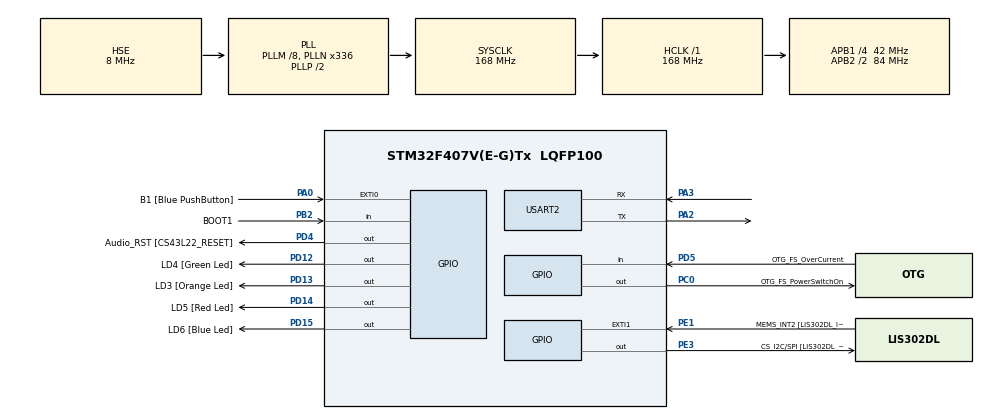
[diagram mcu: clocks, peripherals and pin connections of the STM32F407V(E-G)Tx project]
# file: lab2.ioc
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Mcu.Family=STM32F4
Mcu.Name=STM32F407V(E-G)Tx
Mcu.Package=LQFP100
NVIC.PriorityGroup=NVIC_PRIORITYGROUP_4
NVIC.TIM7_IRQn=true\:0\:0\:false\:false\:true\:false\:true\:true
NVIC.TimeBase=TIM7_IRQn
NVIC.TimeBaseIP=TIM7
PA0-WKUP.GPIO_Label=B1 [Blue PushButton]
PA0-WKUP.GPIO_ModeDefaultEXTI=GPIO_MODE_EVT_RISING
PA0-WKUP.GPIO_PuPd=GPIO_NOPULL
PA0-WKUP.Signal=GPXTI0
PA10.GPIO_Label=OTG_FS_ID
PA10.GPIO_Mode=GPIO_MODE_AF_PP
PA10.GPIO_PuPd=GPIO_NOPULL
PA10.GPIO_Speed=GPIO_SPEED_FREQ_LOW
PA10.Signal=USB_OTG_FS_ID
PA11.GPIO_Label=OTG_FS_DM
PA11.GPIO_Mode=GPIO_MODE_AF_PP
PA11.GPIO_PuPd=GPIO_NOPULL
PA11.GPIO_Speed=GPIO_SPEED_FREQ_LOW
PA11.Signal=USB_OTG_FS_DM
PA12.GPIO_Label=OTG_FS_DP
PA12.GPIO_Mode=GPIO_MODE_AF_PP
PA12.GPIO_PuPd=GPIO_NOPULL
PA12.GPIO_Speed=GPIO_SPEED_FREQ_LOW
PA12.Signal=USB_OTG_FS_DP
PA13.GPIO_Label=SWDIO
PA13.Mode=Serial_Wire
PA13.Signal=SYS_JTMS-SWDIO
PA14.GPIO_Label=SWCLK
PA14.Mode=Serial_Wire
PA14.Signal=SYS_JTCK-SWCLK
PA2.Mode=Asynchronous
PA2.Signal=USART2_TX
PA3.Mode=Asynchronous
PA3.Signal=USART2_RX
PA4.GPIO_Label=I2S3_WS [CS43L22_LRCK]
PA4.GPIO_Mode=GPIO_MODE_AF_PP
PA4.GPIO_PuPd=GPIO_NOPULL
PA4.GPIO_Speed=GPIO_SPEED_FREQ_LOW
PA4.Signal=I2S3_WS
PA5.GPIO_Label=SPI1_SCK [LIS302DL_SCL/SPC]
PA5.GPIO_Mode=GPIO_MODE_AF_PP
PA5.GPIO_PuPd=GPIO_NOPULL
PA5.GPIO_Speed=GPIO_SPEED_FREQ_LOW
PA5.Signal=SPI1_SCK
PA6.GPIO_Label=SPI1_MISO [LIS302DL_SDO]
PA6.GPIO_Mode=GPIO_MODE_AF_PP
PA6.GPIO_PuPd=GPIO_NOPULL
PA6.GPIO_Speed=GPIO_SPEED_FREQ_LOW
PA6.Signal=SPI1_MISO
PA7.GPIO_Label=SPI1_MOSI [LIS302DL_SDA/SDI/SDO]
PA7.GPIO_Mode=GPIO_MODE_AF_PP
PA7.GPIO_PuPd=GPIO_NOPULL
PA7.GPIO_Speed=GPIO_SPEED_FREQ_LOW
PA7.Signal=SPI1_MOSI
PA9.GPIO_Label=VBUS_FS
PA9.GPIO_Mode=GPIO_MODE_INPUT
PA9.GPIO_PuPd=GPIO_NOPULL
PA9.Signal=USB_OTG_FS_VBUS
PB10.GPIO_Label=CLK_IN [MP45DT02_CLK]
PB10.GPIO_Mode=GPIO_MODE_AF_PP
PB10.GPIO_PuPd=GPIO_NOPULL
PB10.GPIO_Speed=GPIO_SPEED_FREQ_LOW
PB10.Signal=I2S2_CK
PB2.GPIO_Label=BOOT1
PB2.GPIO_Mode=GPIO_MODE_INPUT
PB2.GPIO_PuPd=GPIO_NOPULL
PB2.Signal=GPIO_Input
PB3.GPIO_Label=SWO
PB3.Signal=SYS_JTDO-SWO
PB6.GPIO_Label=Audio_SCL [CS43L22_SCL]
PB6.GPIO_Mode=GPIO_MODE_AF_OD
PB6.GPIO_Pu=GPIO_PULLUP
PB6.GPIO_PuPd=GPIO_NOPULL
PB6.GPIO_Speed=GPIO_SPEED_FREQ_LOW
PB6.Signal=I2C1_SCL
PB9.GPIO_Label=Audio_SDA [CS43L22_SDA]
PB9.GPIO_Mode=GPIO_MODE_AF_OD
PB9.GPIO_Pu=GPIO_PULLUP
PB9.GPIO_PuPd=GPIO_NOPULL
PB9.GPIO_Speed=GPIO_SPEED_FREQ_LOW
PB9.Signal=I2C1_SDA
PC0.GPIO_Label=OTG_FS_PowerSwitchOn
PC0.GPIO_PuPd=GPIO_NOPULL
PC0.GPIO_Speed=GPIO_SPEED_FREQ_LOW
PC0.PinState=GPIO_PIN_SET
PC0.Signal=GPIO_Output
PC10.GPIO_Label=I2S3_SCK [CS43L22_SCLK]
PC10.GPIO_Mode=GPIO_MODE_AF_PP
PC10.GPIO_PuPd=GPIO_NOPULL
PC10.GPIO_Speed=GPIO_SPEED_FREQ_LOW
PC10.Signal=I2S3_CK
PC12.GPIO_Label=I2S3_SD [CS43L22_SDIN]
PC12.GPIO_Mode=GPIO_MODE_AF_PP
PC12.GPIO_PuPd=GPIO_NOPULL
PC12.GPIO_Speed=GPIO_SPEED_FREQ_LOW
PC12.Signal=I2S3_SD
PC14-OSC32_IN.GPIO_Label=PC14-OSC32_IN
PC14-OSC32_IN.Mode=LSE-External-Oscillator
PC14-OSC32_IN.Signal=RCC_OSC32_IN
PC15-OSC32_OUT.GPIO_Label=PC15-OSC32_OUT
PC15-OSC32_OUT.Mode=LSE-External-Oscillator
PC15-OSC32_OUT.Signal=RCC_OSC32_OUT
PC3.GPIO_Label=PDM_OUT [MP45DT02_DOUT]
PC3.GPIO_Mode=GPIO_MODE_AF_PP
PC3.GPIO_PuPd=GPIO_NOPULL
PC3.GPIO_Speed=GPIO_SPEED_FREQ_LOW
PC3.Signal=I2S2_SD
PC7.GPIO_Label=I2S3_MCK [CS43L22_MCLK]
PC7.GPIO_Mode=GPIO_MODE_AF_PP
PC7.GPIO_PuPd=GPIO_NOPULL
PC7.GPIO_Speed=GPIO_SPEED_FREQ_LOW
PC7.Signal=I2S3_MCK
PD12.GPIO_Label=LD4 [Green Led]
PD12.GPIO_PuPd=GPIO_NOPULL
PD12.GPIO_Speed=GPIO_SPEED_FREQ_LOW
PD12.Signal=GPIO_Output
PD13.GPIO_Label=LD3 [Orange Led]
PD13.GPIO_PuPd=GPIO_NOPULL
PD13.GPIO_Speed=GPIO_SPEED_FREQ_LOW
PD13.Signal=GPIO_Output
PD14.GPIO_Label=LD5 [Red Led]
PD14.GPIO_PuPd=GPIO_NOPULL
PD14.GPIO_Speed=GPIO_SPEED_FREQ_LOW
PD14.Signal=GPIO_Output
PD15.GPIO_Label=LD6 [Blue Led]
PD15.GPIO_PuPd=GPIO_NOPULL
PD15.GPIO_Speed=GPIO_SPEED_FREQ_LOW
PD15.Signal=GPIO_Output
PD4.GPIO_Label=Audio_RST [CS43L22_RESET]
PD4.GPIO_PuPd=GPIO_NOPULL
PD4.GPIO_Speed=GPIO_SPEED_FREQ_LOW
PD4.Signal=GPIO_Output
PD5.GPIO_Label=OTG_FS_OverCurrent
PD5.GPIO_Mode=GPIO_MODE_INPUT
PD5.GPIO_PuPd=GPIO_NOPULL
PD5.Signal=GPIO_Input
PE1.GPIO_Label=MEMS_INT2 [LIS302DL_INT2]
PE1.GPIO_ModeDefaultEXTI=GPIO_MODE_EVT_RISING
PE1.GPIO_PuPd=GPIO_NOPULL
PE1.Signal=GPXTI1
PE3.GPIO_Label=CS_I2C/SPI [LIS302DL_CS_I2C/SPI]
PE3.GPIO_PuPd=GPIO_NOPULL
PE3.GPIO_Speed=GPIO_SPEED_FREQ_LOW
PE3.Signal=GPIO_Output
PH0-OSC_IN.GPIO_Label=PH0-OSC_IN
PH0-OSC_IN.Mode=HSE-External-Oscillator
PH0-OSC_IN.Signal=RCC_OSC_IN
PH1-OSC_OUT.GPIO_Label=PH1-OSC_OUT
PH1-OSC_OUT.Mode=HSE-External-Oscillator
PH1-OSC_OUT.Signal=RCC_OSC_OUT
ProjectManager.HeapSize=0x200
ProjectManager.StackSize=0x400
ProjectManager.TargetToolchain=CMake
RCC.48MHZClocksFreq_Value=48000000
RCC.AHBFreq_Value=168000000
RCC.APB1CLKDivider=RCC_HCLK_DIV4
RCC.APB1Freq_Value=42000000
RCC.APB1TimFreq_Value=84000000
RCC.APB2CLKDivider=RCC_HCLK_DIV2
RCC.APB2Freq_Value=84000000
RCC.APB2TimFreq_Value=168000000
RCC.CortexFreq_Value=168000000
RCC.HCLKFreq_Value=168000000
RCC.HSE_VALUE=8000000
RCC.HSI_VALUE=16000000
RCC.PLLM=8
RCC.PLLN=336
RCC.PLLQ=7
RCC.PLLSourceVirtual=RCC_PLLSOURCE_HSE
RCC.SYSCLKFreq_VALUE=168000000
RCC.SYSCLKSource=RCC_SYSCLKSOURCE_PLLCLK
RCC.VCOOutputFreq_Value=336000000
USART2.VirtualMode=VM_ASYNC
VP_SYS_VS_tim7.Mode=TIM7
board=STM32F407G-DISC1

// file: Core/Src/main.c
/* USER CODE BEGIN Header */
/**
 ******************************************************************************
 * @file           : main.c
 * @brief          : Main program body
 ******************************************************************************
 * @attention
 *
 * Copyright (c) 2026 STMicroelectronics.
 * All rights reserved.
 *
 * This software is licensed under terms that can be found in the LICENSE file
 * in the root directory of this software component.
 * If no LICENSE file comes with this software, it is provided AS-IS.
 *
 ******************************************************************************
 */
/* USER CODE END Header */
#include "main.h"

/* USER CODE BEGIN Includes */
#include "FreeRTOS.h"
#include "list.h"
#include "stdio.h"
#include "stdlib.h"
#include "string.h"
#include "task.h"

/* USER CODE END Includes */

/* USER CODE BEGIN PD */
#define Red_LED_Pin GPIO_PIN_14
#define Green_LED_Pin GPIO_PIN_12
/* USER CODE END PD */

UART_HandleTypeDef huart2;

void SystemClock_Config(void);
static void MX_GPIO_Init(void);
static void MX_USART2_UART_Init(void);

/* USER CODE BEGIN 0 */
void TaskMonitor_App(void *pvParameters) {
  for (;;) {
    Taskmonitor();
    vTaskDelay(1000);
  }
}

void Red_LED_App(void *pvParameters) {
  uint32_t Redtimer = 800;

  for (;;) {
    HAL_GPIO_TogglePin(GPIOD, Red_LED_Pin);
    vTaskDelay(Redtimer);
    Redtimer += 1;
  }
}

void Green_LED_App(void *pvParameters) {
  uint32_t Greentimer = 1000;

  for (;;) {
    HAL_GPIO_TogglePin(GPIOD, Green_LED_Pin);
    vTaskDelay(Greentimer);
    Greentimer += 2;
  }
}

void Delay_App(void *pvParameters) {
  int delayflag = 0;
  uint32_t delaytime;

  while (1) {
    if (delayflag == 0) {
      delaytime = 1000;
      delayflag = 1;
    } else {
      delaytime = 0xFFFFFFFF;
    }
    vTaskDelay(delaytime);
  }
}
/* USER CODE END 0 */

int main(void) {

  /* USER CODE BEGIN 1 */
  TaskHandle_t TaskMonitor_Handle;
  TaskHandle_t Red_LED_Handle;
  TaskHandle_t Green_LED_Handle;
  TaskHandle_t Delay_Handle;
  /* USER CODE END 1 */

  /* MCU Configuration--------------------------------------------------------*/

  /* Reset of all peripherals, Initializes the Flash interface and the Systick.
   */
  HAL_Init();

  /* Configure the system clock */
  SystemClock_Config();

  /* Initialize all configured peripherals */
  MX_GPIO_Init();
  MX_USART2_UART_Init();
  /* USER CODE BEGIN 2 */
  xTaskCreate(Red_LED_App, "Red_LED_App", 128, NULL, 1, &Red_LED_Handle);
  xTaskCreate(Green_LED_App, "Green_LED_App", 128, NULL, 1, &Green_LED_Handle);
  xTaskCreate(Delay_App, "Delay_App", 128, NULL, 14, &Delay_Handle);
  xTaskCreate(TaskMonitor_App, "TaskMonitor_App", 256, NULL, 3,
              &TaskMonitor_Handle);
  vTaskStartScheduler();
  /* USER CODE END 2 */

  /* Infinite loop */
  while (1) {

  }
}

void SystemClock_Config(void) {
  RCC_OscInitTypeDef RCC_OscInitStruct = {0};
  RCC_ClkInitTypeDef RCC_ClkInitStruct = {0};

  /** Configure the main internal regulator output voltage
   */
  __HAL_RCC_PWR_CLK_ENABLE();
  __HAL_PWR_VOLTAGESCALING_CONFIG(PWR_REGULATOR_VOLTAGE_SCALE1);

  /** Initializes the RCC Oscillators according to the specified parameters
   * in the RCC_OscInitTypeDef structure.
   */
  RCC_OscInitStruct.OscillatorType = RCC_OSCILLATORTYPE_HSE;
  RCC_OscInitStruct.HSEState = RCC_HSE_ON;
  RCC_OscInitStruct.PLL.PLLState = RCC_PLL_ON;
  RCC_OscInitStruct.PLL.PLLSource = RCC_PLLSOURCE_HSE;
  RCC_OscInitStruct.PLL.PLLM = 8;
  RCC_OscInitStruct.PLL.PLLN = 336;
  RCC_OscInitStruct.PLL.PLLP = RCC_PLLP_DIV2;
  RCC_OscInitStruct.PLL.PLLQ = 7;
  if (HAL_RCC_OscConfig(&RCC_OscInitStruct) != HAL_OK) {
    Error_Handler();
  }

  /** Initializes the CPU, AHB and APB buses clocks
   */
  RCC_ClkInitStruct.ClockType = RCC_CLOCKTYPE_HCLK | RCC_CLOCKTYPE_SYSCLK |
                                RCC_CLOCKTYPE_PCLK1 | RCC_CLOCKTYPE_PCLK2;
  RCC_ClkInitStruct.SYSCLKSource = RCC_SYSCLKSOURCE_PLLCLK;
  RCC_ClkInitStruct.AHBCLKDivider = RCC_SYSCLK_DIV1;
  RCC_ClkInitStruct.APB1CLKDivider = RCC_HCLK_DIV4;
  RCC_ClkInitStruct.APB2CLKDivider = RCC_HCLK_DIV2;

  if (HAL_RCC_ClockConfig(&RCC_ClkInitStruct, FLASH_LATENCY_5) != HAL_OK) {
    Error_Handler();
  }
}

static void MX_USART2_UART_Init(void) {

  huart2.Instance = USART2;
  huart2.Init.BaudRate = 115200;
  huart2.Init.WordLength = UART_WORDLENGTH_8B;
  huart2.Init.StopBits = UART_STOPBITS_1;
  huart2.Init.Parity = UART_PARITY_NONE;
  huart2.Init.Mode = UART_MODE_TX_RX;
  huart2.Init.HwFlowCtl = UART_HWCONTROL_NONE;
  huart2.Init.OverSampling = UART_OVERSAMPLING_16;
  if (HAL_UART_Init(&huart2) != HAL_OK) {
    Error_Handler();
  }
}

static void MX_GPIO_Init(void) {
  GPIO_InitTypeDef GPIO_InitStruct = {0};

  /* GPIO Ports Clock Enable */
  __HAL_RCC_GPIOE_CLK_ENABLE();
  __HAL_RCC_GPIOC_CLK_ENABLE();
  __HAL_RCC_GPIOH_CLK_ENABLE();
  __HAL_RCC_GPIOA_CLK_ENABLE();
  __HAL_RCC_GPIOB_CLK_ENABLE();
  __HAL_RCC_GPIOD_CLK_ENABLE();

  /*Configure GPIO pin Output Level */
  HAL_GPIO_WritePin(CS_I2C_SPI_GPIO_Port, CS_I2C_SPI_Pin, GPIO_PIN_RESET);

  /*Configure GPIO pin Output Level */
  HAL_GPIO_WritePin(OTG_FS_PowerSwitchOn_GPIO_Port, OTG_FS_PowerSwitchOn_Pin,
                    GPIO_PIN_SET);

  /*Configure GPIO pin Output Level */
  HAL_GPIO_WritePin(GPIOD,
                    LD4_Pin | LD3_Pin | LD5_Pin | LD6_Pin | Audio_RST_Pin,
                    GPIO_PIN_RESET);

  /*Configure GPIO pin : CS_I2C_SPI_Pin */
  GPIO_InitStruct.Pin = CS_I2C_SPI_Pin;
  GPIO_InitStruct.Mode = GPIO_MODE_OUTPUT_PP;
  GPIO_InitStruct.Pull = GPIO_NOPULL;
  GPIO_InitStruct.Speed = GPIO_SPEED_FREQ_LOW;
  HAL_GPIO_Init(CS_I2C_SPI_GPIO_Port, &GPIO_InitStruct);

  /*Configure GPIO pin : OTG_FS_PowerSwitchOn_Pin */
  GPIO_InitStruct.Pin = OTG_FS_PowerSwitchOn_Pin;
  GPIO_InitStruct.Mode = GPIO_MODE_OUTPUT_PP;
  GPIO_InitStruct.Pull = GPIO_NOPULL;
  GPIO_InitStruct.Speed = GPIO_SPEED_FREQ_LOW;
  HAL_GPIO_Init(OTG_FS_PowerSwitchOn_GPIO_Port, &GPIO_InitStruct);

  /*Configure GPIO pin : PDM_OUT_Pin */
  GPIO_InitStruct.Pin = PDM_OUT_Pin;
  GPIO_InitStruct.Mode = GPIO_MODE_AF_PP;
  GPIO_InitStruct.Pull = GPIO_NOPULL;
  GPIO_InitStruct.Speed = GPIO_SPEED_FREQ_LOW;
  GPIO_InitStruct.Alternate = GPIO_AF5_SPI2;
  HAL_GPIO_Init(PDM_OUT_GPIO_Port, &GPIO_InitStruct);

  /*Configure GPIO pin : B1_Pin */
  GPIO_InitStruct.Pin = B1_Pin;
  GPIO_InitStruct.Mode = GPIO_MODE_EVT_RISING;
  GPIO_InitStruct.Pull = GPIO_NOPULL;
  HAL_GPIO_Init(B1_GPIO_Port, &GPIO_InitStruct);

  /*Configure GPIO pin : I2S3_WS_Pin */
  GPIO_InitStruct.Pin = I2S3_WS_Pin;
  GPIO_InitStruct.Mode = GPIO_MODE_AF_PP;
  GPIO_InitStruct.Pull = GPIO_NOPULL;
  GPIO_InitStruct.Speed = GPIO_SPEED_FREQ_LOW;
  GPIO_InitStruct.Alternate = GPIO_AF6_SPI3;
  HAL_GPIO_Init(I2S3_WS_GPIO_Port, &GPIO_InitStruct);

  /*Configure GPIO pins : SPI1_SCK_Pin SPI1_MISO_Pin SPI1_MOSI_Pin */
  GPIO_InitStruct.Pin = SPI1_SCK_Pin | SPI1_MISO_Pin | SPI1_MOSI_Pin;
  GPIO_InitStruct.Mode = GPIO_MODE_AF_PP;
  GPIO_InitStruct.Pull = GPIO_NOPULL;
  GPIO_InitStruct.Speed = GPIO_SPEED_FREQ_LOW;
  GPIO_InitStruct.Alternate = GPIO_AF5_SPI1;
  HAL_GPIO_Init(GPIOA, &GPIO_InitStruct);

  /*Configure GPIO pin : BOOT1_Pin */
  GPIO_InitStruct.Pin = BOOT1_Pin;
  GPIO_InitStruct.Mode = GPIO_MODE_INPUT;
  GPIO_InitStruct.Pull = GPIO_NOPULL;
  HAL_GPIO_Init(BOOT1_GPIO_Port, &GPIO_InitStruct);

  /*Configure GPIO pin : CLK_IN_Pin */
  GPIO_InitStruct.Pin = CLK_IN_Pin;
  GPIO_InitStruct.Mode = GPIO_MODE_AF_PP;
  GPIO_InitStruct.Pull = GPIO_NOPULL;
  GPIO_InitStruct.Speed = GPIO_SPEED_FREQ_LOW;
  GPIO_InitStruct.Alternate = GPIO_AF5_SPI2;
  HAL_GPIO_Init(CLK_IN_GPIO_Port, &GPIO_InitStruct);

  /*Configure GPIO pins : LD4_Pin LD3_Pin LD5_Pin LD6_Pin
                           Audio_RST_Pin */
  GPIO_InitStruct.Pin = LD4_Pin | LD3_Pin | LD5_Pin | LD6_Pin | Audio_RST_Pin;
  GPIO_InitStruct.Mode = GPIO_MODE_OUTPUT_PP;
  GPIO_InitStruct.Pull = GPIO_NOPULL;
  GPIO_InitStruct.Speed = GPIO_SPEED_FREQ_LOW;
  HAL_GPIO_Init(GPIOD, &GPIO_InitStruct);

  /*Configure GPIO pins : I2S3_MCK_Pin I2S3_SCK_Pin I2S3_SD_Pin */
  GPIO_InitStruct.Pin = I2S3_MCK_Pin | I2S3_SCK_Pin | I2S3_SD_Pin;
  GPIO_InitStruct.Mode = GPIO_MODE_AF_PP;
  GPIO_InitStruct.Pull = GPIO_NOPULL;
  GPIO_InitStruct.Speed = GPIO_SPEED_FREQ_LOW;
  GPIO_InitStruct.Alternate = GPIO_AF6_SPI3;
  HAL_GPIO_Init(GPIOC, &GPIO_InitStruct);

  /*Configure GPIO pin : VBUS_FS_Pin */
  GPIO_InitStruct.Pin = VBUS_FS_Pin;
  GPIO_InitStruct.Mode = GPIO_MODE_INPUT;
  GPIO_InitStruct.Pull = GPIO_NOPULL;
  HAL_GPIO_Init(VBUS_FS_GPIO_Port, &GPIO_InitStruct);

  /*Configure GPIO pins : OTG_FS_ID_Pin OTG_FS_DM_Pin OTG_FS_DP_Pin */
  GPIO_InitStruct.Pin = OTG_FS_ID_Pin | OTG_FS_DM_Pin | OTG_FS_DP_Pin;
  GPIO_InitStruct.Mode = GPIO_MODE_AF_PP;
  GPIO_InitStruct.Pull = GPIO_NOPULL;
  GPIO_InitStruct.Speed = GPIO_SPEED_FREQ_LOW;
  GPIO_InitStruct.Alternate = GPIO_AF10_OTG_FS;
  HAL_GPIO_Init(GPIOA, &GPIO_InitStruct);

  /*Configure GPIO pin : OTG_FS_OverCurrent_Pin */
  GPIO_InitStruct.Pin = OTG_FS_OverCurrent_Pin;
  GPIO_InitStruct.Mode = GPIO_MODE_INPUT;
  GPIO_InitStruct.Pull = GPIO_NOPULL;
  HAL_GPIO_Init(OTG_FS_OverCurrent_GPIO_Port, &GPIO_InitStruct);

  /*Configure GPIO pins : Audio_SCL_Pin Audio_SDA_Pin */
  GPIO_InitStruct.Pin = Audio_SCL_Pin | Audio_SDA_Pin;
  GPIO_InitStruct.Mode = GPIO_MODE_AF_OD;
  GPIO_InitStruct.Pull = GPIO_PULLUP;
  GPIO_InitStruct.Speed = GPIO_SPEED_FREQ_LOW;
  GPIO_InitStruct.Alternate = GPIO_AF4_I2C1;
  HAL_GPIO_Init(GPIOB, &GPIO_InitStruct);

  /*Configure GPIO pin : MEMS_INT2_Pin */
  GPIO_InitStruct.Pin = MEMS_INT2_Pin;
  GPIO_InitStruct.Mode = GPIO_MODE_EVT_RISING;
  GPIO_InitStruct.Pull = GPIO_NOPULL;
  HAL_GPIO_Init(MEMS_INT2_GPIO_Port, &GPIO_InitStruct);

}

void HAL_TIM_PeriodElapsedCallback(TIM_HandleTypeDef *htim) {
  if (htim->Instance == TIM7) {
    HAL_IncTick();
  }
}

void Error_Handler(void) {
  __disable_irq();
  while (1) {
  }
}
#ifdef USE_FULL_ASSERT
/**
 * @brief  Reports the name of the source file and the source line number
 *         where the assert_param error has occurred.
 * @param  file: pointer to the source file name
 * @param  line: assert_param error line source number
 * @retval None
 */
void assert_failed(uint8_t *file, uint32_t line) {
  /* USER CODE BEGIN 6 */
  /* User can add his own implementation to report the file name and line
     number, ex: printf("Wrong parameters value: file %s on line %d\r\n", file,
     line) */
  /* USER CODE END 6 */
}
#endif /* USE_FULL_ASSERT */
